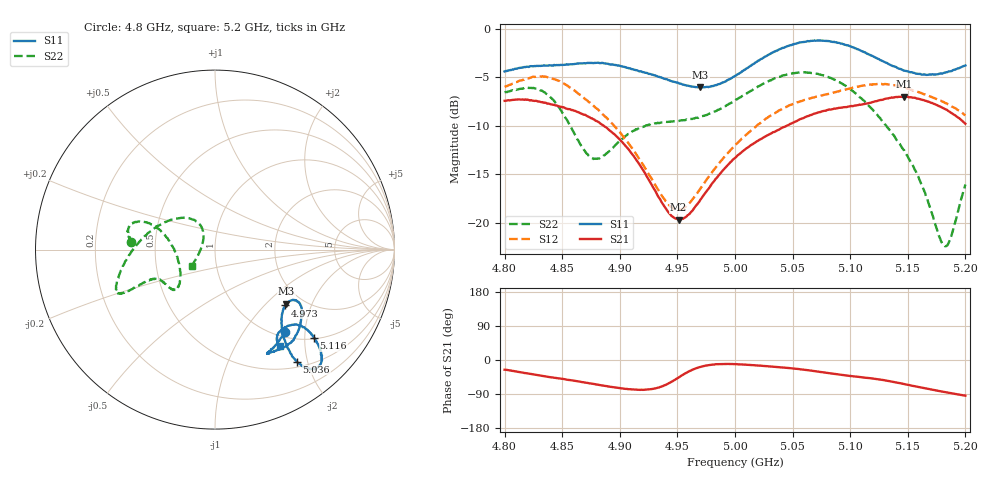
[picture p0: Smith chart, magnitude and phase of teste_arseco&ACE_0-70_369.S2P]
! Network Analyzer HP8722D
! Hewlett-Packard
! Data name: Linha & Wilkinson
! Saver's name: Rodrigo Anjos
! Comments: Teste da utilização de aquisição
! continua pelo VNA HP8722D
! Time and date: 8/5/2025 15:50
!  Frequency  S11  S21  S12  S22
# HZ  S  MA R 50
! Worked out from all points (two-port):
!   401 points, 4.8 GHz to 5.2 GHz, reference 50 ohm
!   highest |S21| = -6.99 dB at 5.147 GHz (marker M1); lowest = -19.7 dB at 4.951 GHz (marker M2)
!   |S21| within 3 dB of the highest: start of sweep to 4.886 GHz; 5.045 GHz to end of sweep
!   lowest |S11| = -6.0 dB at 4.97 GHz (marker M3), VSWR 2.99, Z = 82.6 - j66.4 ohm
!   |S11| at or under -10 dB: nowhere
!   |S22| runs from -22.4 to -4.5 dB; largest |S21 - S12| = 0.97
!   S11 on the Smith chart (normalised r, x): 4.8 GHz: 1.08, -1.57; 4.973 GHz: 1.61, -1.33; 5.036 GHz: 0.59, -1.82; 5.116 GHz: 1.02, -2.22; 5.2 GHz: 0.83, -1.54
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4.8e9  0.6035 -49.9  0.4259 -25.6  0.503 179.7  0.4711 174.8
4.821e9  0.6361 -60.7  0.4298 -35.9  0.5562 171.5  0.4962 166.8
4.835e9  0.6469 -63.1  0.4171 -43.0  0.5677 163.2  0.4698 160.9
4.849e9  0.6515 -61.6  0.3972 -49.2  0.5318 154.6  0.3794 158.5
4.867e9  0.6644 -55.7  0.3651 -58.3  0.4492 146.3  0.247 172.1
4.881e9  0.6694 -50.6  0.3321 -65.1  0.3846 141.6  0.2148 -160.7
4.902e9  0.6407 -42.8  0.2617 -75.0  0.2842 136.2  0.2709 -136.6
4.934e9  0.5661 -32.9  0.1348 -72.5  0.146 144.8  0.3263 -138.2
4.951e9  0.5251 -32.4  0.1039 -46.4  0.1165 171.7  0.3348 -144.8
4.97e9  0.4989 -37.3  0.1318 -18.3  0.1503 -160.6  0.3515 -151.7
4.973e9  0.5 -38.5  0.1394 -15.9  0.1594 -158.1  0.3565 -152.4
5e9  0.5722 -49.4  0.216 -10.8  0.2511 -149.4  0.4273 -155.2
5.036e9  0.7723 -53.8  0.2985 -18.5  0.3725 -151.0  0.5613 -154.6
5.067e9  0.868 -49.6  0.3618 -28.4  0.442 -158.5  0.592 -158.7
5.095e9  0.8295 -44.7  0.395 -40.5  0.4852 -166.8  0.5129 -171.0
5.116e9  0.7391 -41.8  0.4145 -47.7  0.5159 -177.0  0.402 170.1
5.134e9  0.656 -41.1  0.4402 -55.7  0.5157 172.2  0.3024 147.8
5.147e9  0.6096 -43.2  0.4471 -63.6  0.4981 164.8  0.236 131.4
5.164e9  0.5815 -48.9  0.4294 -74.1  0.4605 157.3  0.1471 120.8
5.182e9  0.5951 -54.4  0.3871 -84.5  0.4163 151.2  0.07591 160.5
5.187e9  0.6052 -55.3  0.3713 -87.4  0.402 149.5  0.08346 -175.4
5.2e9  0.6479 -56.1  0.3244 -94.1  0.3582 145.6  0.1576 -145.5
